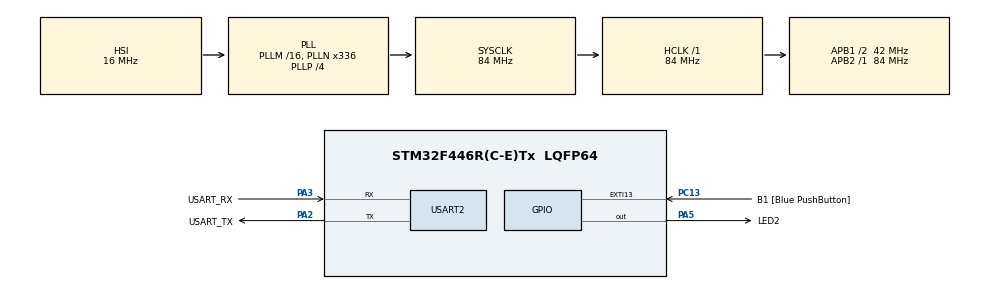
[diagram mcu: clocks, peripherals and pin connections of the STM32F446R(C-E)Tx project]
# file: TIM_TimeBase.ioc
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Mcu.Family=STM32F4
Mcu.Name=STM32F446R(C-E)Tx
Mcu.Package=LQFP64
NVIC.PriorityGroup=NVIC_PRIORITYGROUP_0
NVIC.TIM3_IRQn=true\:0\:0\:false\:false\:true\:true\:true\:true
PA13.GPIO_Label=TMS
PA13.Mode=Serial_Wire
PA13.Signal=SYS_JTMS-SWDIO
PA14.GPIO_Label=TCK
PA14.Mode=Serial_Wire
PA14.Signal=SYS_JTCK-SWCLK
PA2.GPIO_Label=USART_TX
PA2.Mode=Asynchronous
PA2.Signal=USART2_TX
PA3.GPIO_Label=USART_RX
PA3.Mode=Asynchronous
PA3.Signal=USART2_RX
PA5.GPIO_Label=LED2
PA5.Signal=GPIO_Output
PB3.GPIO_Label=SWO
PB3.Signal=SYS_JTDO-SWO
PC13.GPIO_Label=B1 [Blue PushButton]
PC13.GPIO_ModeDefaultEXTI=GPIO_MODE_IT_FALLING
PC13.Signal=GPXTI13
PC14-OSC32_IN.Signal=RCC_OSC32_IN
PC15-OSC32_OUT.Signal=RCC_OSC32_OUT
PH0-OSC_IN.Signal=RCC_OSC_IN
PH1-OSC_OUT.Signal=RCC_OSC_OUT
ProjectManager.HeapSize=0x200
ProjectManager.StackSize=0x400
ProjectManager.TargetToolchain=STM32CubeIDE
RCC.48MHZClocksFreq_Value=84000000
RCC.AHBFreq_Value=84000000
RCC.APB1CLKDivider=RCC_HCLK_DIV2
RCC.APB1Freq_Value=42000000
RCC.APB1TimFreq_Value=84000000
RCC.APB2Freq_Value=84000000
RCC.APB2TimFreq_Value=84000000
RCC.CortexFreq_Value=84000000
RCC.FLatency-AdvancedSettings=FLASH_LATENCY_2
RCC.HCLKFreq_Value=84000000
RCC.HSE_VALUE=8000000
RCC.HSI_VALUE=16000000
RCC.PLLN=336
RCC.PLLP=RCC_PLLP_DIV4
RCC.SYSCLKFreq_VALUE=84000000
RCC.SYSCLKSource=RCC_SYSCLKSOURCE_PLLCLK
RCC.USBFreq_Value=168000000
RCC.VCOOutputFreq_Value=336000000
TIM3.AutoReloadPreload=TIM_AUTORELOAD_PRELOAD_ENABLE
TIM3.Period=1000-1
TIM3.Prescaler=84-1
USART2.VirtualMode=VM_ASYNC
VP_TIM3_VS_ClockSourceINT.Mode=Internal
board=NUCLEO-F446RE

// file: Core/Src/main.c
/* USER CODE BEGIN Header */
/**
  ******************************************************************************
  * @file           : main.c
  * @brief          : Main program body
  ******************************************************************************
  * @attention
  *
  * Copyright (c) 2026 STMicroelectronics.
  * All rights reserved.
  *
  * This software is licensed under terms that can be found in the LICENSE file
  * in the root directory of this software component.
  * If no LICENSE file comes with this software, it is provided AS-IS.
  *
  ******************************************************************************
  */
/* USER CODE END Header */
#include "main.h"

TIM_HandleTypeDef htim3;

UART_HandleTypeDef huart2;

/* USER CODE BEGIN PV */
 volatile int gTimerCnt;
/* USER CODE END PV */

void SystemClock_Config(void);
static void MX_GPIO_Init(void);
static void MX_USART2_UART_Init(void);
static void MX_TIM3_Init(void);

/* USER CODE BEGIN 0 */
#ifdef __GNUC__
#define PUTCHAR_PROTOTYPE int __io_putchar(int ch)
#else
#define PUTCHAR_PROTOTYPE int fputc(int ch, FILE *f)
#endif

PUTCHAR_PROTOTYPE
{
   if(ch == '\n')
       HAL_UART_Transmit (&huart2, (uint8_t*) "\r", 1, 0xFFFF);
   HAL_UART_Transmit (&huart2, (uint8_t*) &ch, 1, 0xFFFF);

   return ch;
}
/* USER CODE END 0 */

int main(void)
{

  /* MCU Configuration--------------------------------------------------------*/

  /* Reset of all peripherals, Initializes the Flash interface and the Systick. */
  HAL_Init();

  /* Configure the system clock */
  SystemClock_Config();

  /* Initialize all configured peripherals */
  MX_GPIO_Init();
  MX_USART2_UART_Init();
  MX_TIM3_Init();
  /* USER CODE BEGIN 2 */
  if(HAL_TIM_Base_Start_IT (&htim3)!=HAL_OK)
	{
	Error_Handler();
	}
  /* USER CODE END 2 */

  /* Infinite loop */
  while (1)
  {

  }
}

void SystemClock_Config(void)
{
  RCC_OscInitTypeDef RCC_OscInitStruct = {0};
  RCC_ClkInitTypeDef RCC_ClkInitStruct = {0};

  /** Configure the main internal regulator output voltage
  */
  __HAL_RCC_PWR_CLK_ENABLE();
  __HAL_PWR_VOLTAGESCALING_CONFIG(PWR_REGULATOR_VOLTAGE_SCALE3);

  /** Initializes the RCC Oscillators according to the specified parameters
  * in the RCC_OscInitTypeDef structure.
  */
  RCC_OscInitStruct.OscillatorType = RCC_OSCILLATORTYPE_HSI;
  RCC_OscInitStruct.HSIState = RCC_HSI_ON;
  RCC_OscInitStruct.HSICalibrationValue = RCC_HSICALIBRATION_DEFAULT;
  RCC_OscInitStruct.PLL.PLLState = RCC_PLL_ON;
  RCC_OscInitStruct.PLL.PLLSource = RCC_PLLSOURCE_HSI;
  RCC_OscInitStruct.PLL.PLLM = 16;
  RCC_OscInitStruct.PLL.PLLN = 336;
  RCC_OscInitStruct.PLL.PLLP = RCC_PLLP_DIV4;
  RCC_OscInitStruct.PLL.PLLQ = 2;
  RCC_OscInitStruct.PLL.PLLR = 2;
  if (HAL_RCC_OscConfig(&RCC_OscInitStruct) != HAL_OK)
  {
    Error_Handler();
  }

  /** Initializes the CPU, AHB and APB buses clocks
  */
  RCC_ClkInitStruct.ClockType = RCC_CLOCKTYPE_HCLK|RCC_CLOCKTYPE_SYSCLK
                              |RCC_CLOCKTYPE_PCLK1|RCC_CLOCKTYPE_PCLK2;
  RCC_ClkInitStruct.SYSCLKSource = RCC_SYSCLKSOURCE_PLLCLK;
  RCC_ClkInitStruct.AHBCLKDivider = RCC_SYSCLK_DIV1;
  RCC_ClkInitStruct.APB1CLKDivider = RCC_HCLK_DIV2;
  RCC_ClkInitStruct.APB2CLKDivider = RCC_HCLK_DIV1;

  if (HAL_RCC_ClockConfig(&RCC_ClkInitStruct, FLASH_LATENCY_2) != HAL_OK)
  {
    Error_Handler();
  }
}

static void MX_TIM3_Init(void)
{

  TIM_ClockConfigTypeDef sClockSourceConfig = {0};
  TIM_MasterConfigTypeDef sMasterConfig = {0};

  htim3.Instance = TIM3;
  htim3.Init.Prescaler = 84-1;
  htim3.Init.CounterMode = TIM_COUNTERMODE_UP;
  htim3.Init.Period = 1000-1;
  htim3.Init.ClockDivision = TIM_CLOCKDIVISION_DIV1;
  htim3.Init.AutoReloadPreload = TIM_AUTORELOAD_PRELOAD_ENABLE;
  if (HAL_TIM_Base_Init(&htim3) != HAL_OK)
  {
    Error_Handler();
  }
  sClockSourceConfig.ClockSource = TIM_CLOCKSOURCE_INTERNAL;
  if (HAL_TIM_ConfigClockSource(&htim3, &sClockSourceConfig) != HAL_OK)
  {
    Error_Handler();
  }
  sMasterConfig.MasterOutputTrigger = TIM_TRGO_RESET;
  sMasterConfig.MasterSlaveMode = TIM_MASTERSLAVEMODE_DISABLE;
  if (HAL_TIMEx_MasterConfigSynchronization(&htim3, &sMasterConfig) != HAL_OK)
  {
    Error_Handler();
  }

}

static void MX_USART2_UART_Init(void)
{

  huart2.Instance = USART2;
  huart2.Init.BaudRate = 115200;
  huart2.Init.WordLength = UART_WORDLENGTH_8B;
  huart2.Init.StopBits = UART_STOPBITS_1;
  huart2.Init.Parity = UART_PARITY_NONE;
  huart2.Init.Mode = UART_MODE_TX_RX;
  huart2.Init.HwFlowCtl = UART_HWCONTROL_NONE;
  huart2.Init.OverSampling = UART_OVERSAMPLING_16;
  if (HAL_UART_Init(&huart2) != HAL_OK)
  {
    Error_Handler();
  }

}

static void MX_GPIO_Init(void)
{
  GPIO_InitTypeDef GPIO_InitStruct = {0};

  /* GPIO Ports Clock Enable */
  __HAL_RCC_GPIOC_CLK_ENABLE();
  __HAL_RCC_GPIOH_CLK_ENABLE();
  __HAL_RCC_GPIOA_CLK_ENABLE();
  __HAL_RCC_GPIOB_CLK_ENABLE();

  /*Configure GPIO pin Output Level */
  HAL_GPIO_WritePin(LED2_GPIO_Port, LED2_Pin, GPIO_PIN_RESET);

  /*Configure GPIO pin : B1_Pin */
  GPIO_InitStruct.Pin = B1_Pin;
  GPIO_InitStruct.Mode = GPIO_MODE_IT_FALLING;
  GPIO_InitStruct.Pull = GPIO_NOPULL;
  HAL_GPIO_Init(B1_GPIO_Port, &GPIO_InitStruct);

  /*Configure GPIO pin : LED2_Pin */
  GPIO_InitStruct.Pin = LED2_Pin;
  GPIO_InitStruct.Mode = GPIO_MODE_OUTPUT_PP;
  GPIO_InitStruct.Pull = GPIO_NOPULL;
  GPIO_InitStruct.Speed = GPIO_SPEED_FREQ_LOW;
  HAL_GPIO_Init(LED2_GPIO_Port, &GPIO_InitStruct);

}

/* USER CODE BEGIN 4 */
void
HAL_TIM_PeriodElapsedCallback(TIM_HandleTypeDef *htim)
{
	gTimerCnt++;
	if(gTimerCnt==1000)
	{
		gTimerCnt=0;
		HAL_GPIO_TogglePin(LED2_GPIO_Port, LED2_Pin);
	}
}
/* USER CODE END 4 */

void Error_Handler(void)
{
  __disable_irq();
  while (1)
  {
  }
}
